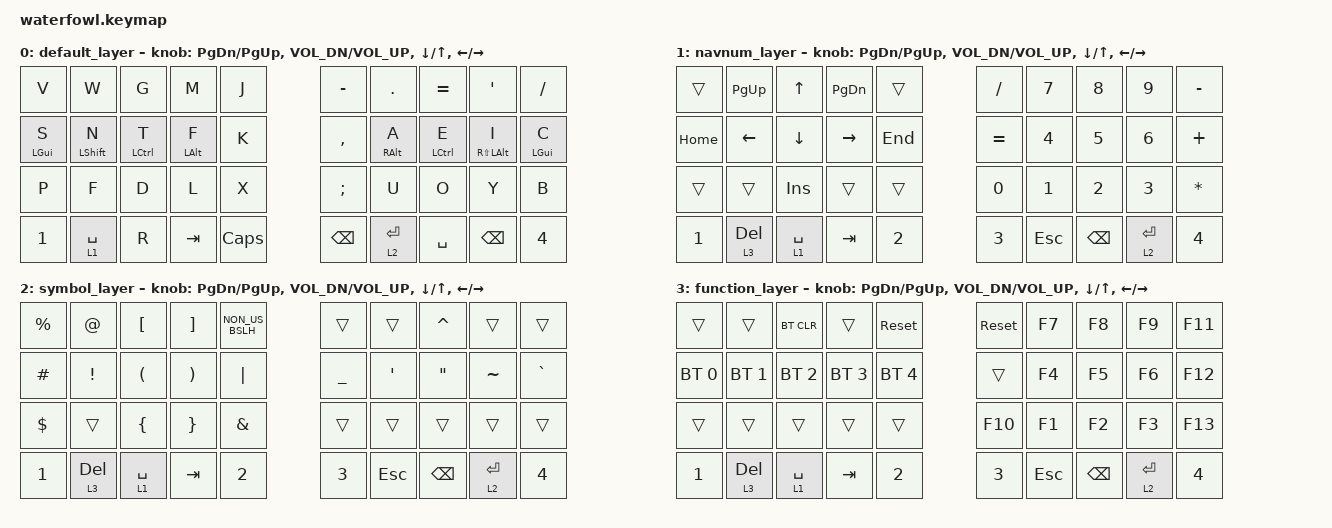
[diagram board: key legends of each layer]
/*
 * Copyright (c) 2022 The ZMK Contributors
 *
 * SPDX-License-Identifier: MIT
 */

#include <behaviors.dtsi>
#include <dt-bindings/zmk/keys.h>
#include <dt-bindings/zmk/bt.h>



/ {

	behaviors {
	rpi: require_prior_idle {
    compatible = "zmk,behavior-hold-tap";
    #binding-cells = <2>;
    flavor = "tap-preferred";
    tapping-term-ms = <200>;
    require-prior-idle-ms = <125>;
    bindings = <&kp>, <&kp>;
	};
	};
    keymap {
        compatible = "zmk,keymap";

        default_layer {
/* QWERTY
 *
 * ,----------------------------------.                      ,----------------------------------.
 * |   Q  |   W  |   E  |   R  |   T  |                      |   Y  |   U  |   I  |   O  |   P  |
 * |------+------+------+------+------|                      |------+------+------+------+------|
 * |   A  |   S  |   D  |   F  |   G  |                      |   H  |   J  |   K  |   L  |   ;  |
 * |------+------+------+------+------|  ,-----.    ,-----.  |------+------+------+------+------|
 * |   Z  |   X  |   C  |   V  |   B  |  |  2  |    |  3  |  |   N  |   M  |   ,  |   .  |   /  |
 * `----------------------------------'  `-----'    `-----'  `----------------------------------'
 *          ,-----.   ,--------------------.            ,--------------------.   ,-----.
 *          |  1  |   | DEL | SPACE | TAB  |            |  ESC  | BS | ENTER |   |  4  |
 *          `-----'   `--------------------'            `--------------------'   `-----'
 */
            bindings = <
&kp V       &kp W         &kp G        &kp M           &kp J       &kp MINUS      &kp PERIOD       &kp EQUAL    &kp SQT         &kp SLASH
&rpi LGUI S  &rpi LSHIFT N  &rpi LCTRL T  &rpi LEFT_ALT F  &kp K       &kp COMMA      &rpi RIGHT_ALT A  &rpi LCTRL E  &rpi RS(LALT) I  &rpi LGUI C
&kp P       &kp F         &kp D        &kp L           &kp X       &kp SEMICOLON  &kp U            &kp O        &kp Y           &kp B
&kp N1              &lt 1 SPACE  &kp R  &kp TAB         &kp CLCK    &kp BACKSPACE  &lt 2 RET        &kp SPACE &kp BSPC            &kp N4
            >;

            sensor-bindings = <
                &inc_dec_kp PAGE_DOWN PAGE_UP
                &inc_dec_kp C_VOL_DN C_VOL_UP
                &inc_dec_kp DOWN UP
                &inc_dec_kp LEFT RIGHT
            >;
        };

        navnum_layer {
/* NAVNUM
 *
 * ,----------------------------------.                      ,----------------------------------.
 * |      | PgUp |  UP  | PgDn |      |                      |   /  |   7  |   8  |   9  |   -  |
 * |------+------+------+------+------|                      |------+------+------+------+------|
 * | Home | Left | Down | Right| End  |                      |   =  |   4  |   5  |   6  |   +  |
 * |------+------+------+------+------|  ,-----.    ,-----.  |------+------+------+------+------|
 * |      |      |  INS |      |      |  |  2  |    |  3  |  |   0  |   1  |   2  |   3  |   *  |
 * `----------------------------------'  `-----'    `-----'  `----------------------------------'
 *          ,-----.   ,--------------------.            ,--------------------.   ,-----.
 *          |  1  |   | DEL | SPACE | MO(3)|            |  ESC  | BS | ENTER |   |  4  |
 *          `-----'   `--------------------'            `--------------------'   `-----'
 */
            bindings = <
    &trans      &kp PG_UP   &kp UP      &kp PG_DN   &trans                  &kp FSLH    &kp N7  &kp N8      &kp N9      &kp MINUS
    &kp HOME    &kp LEFT    &kp DOWN    &kp RIGHT   &kp END                 &kp EQUAL   &kp N4  &kp N5      &kp N6      &kp PLUS
    &trans      &trans      &kp INS     &trans      &trans                  &kp N0      &kp N1  &kp N2      &kp N3      &kp ASTERISK
    &kp N1      &lt 3 DEL   &lt 1 SPACE &kp TAB     &kp N2                  &kp N3      &kp ESC &kp BSPC    &lt 2 RET   &kp N4
            >;

            sensor-bindings = <
                &inc_dec_kp PAGE_DOWN PAGE_UP
                &inc_dec_kp C_VOL_DN C_VOL_UP
                &inc_dec_kp DOWN UP
                &inc_dec_kp LEFT RIGHT
            >;
        };

        symbol_layer {
/* SYM
 *
 * ,----------------------------------.                      ,----------------------------------.
 * |   %  |   @  |   [  |   ]  |   \  |                      |      |      |   ^  |      |      |
 * |------+------+------+------+------|                      |------+------+------+------+------|
 * |   #  |   !  |   (  |   )  |   |  |                      |   _  |   '  |   "  |   ~  |   `  |
 * |------+------+------+------+------|  ,-----.    ,-----.  |------+------+------+------+------|
 * |   $  |      |   {  |   }  |   &  |  |  2  |    |  3  |  |      |      |      |      |      |
 * `----------------------------------'  `-----'    `-----'  `----------------------------------'
 *          ,-----.   ,--------------------.            ,--------------------.   ,-----.
 *          |  1  |   | DEL | SPACE | TAB  |            |  ESC  | BS | ENTER |   |  4  |
 *          `-----'   `--------------------'            `--------------------'   `-----'
 */
            bindings = <
    &kp PRCNT       &kp AT      &kp LBKT    &kp RBKT    &kp NON_US_BSLH         &trans          &trans          &kp CARET           &trans      &trans
    &kp HASH        &kp EXCL    &kp LPAR    &kp RPAR    &kp PIPE                &kp UNDER       &kp APOS        &kp DOUBLE_QUOTES   &kp TILDE   &kp GRAVE
    &kp DLLR        &trans      &kp LBRC    &kp RBRC    &kp AMPS                &trans          &trans          &trans              &trans      &trans
    &kp N1          &lt 3 DEL   &lt 1 SPACE &kp TAB     &kp N2                  &kp N3          &kp ESC         &kp BSPC            &lt 2 RET   &kp N4
            >;

            sensor-bindings = <
                &inc_dec_kp PAGE_DOWN PAGE_UP
                &inc_dec_kp C_VOL_DN C_VOL_UP
                &inc_dec_kp DOWN UP
                &inc_dec_kp LEFT RIGHT
            >;
        };

        function_layer {
/* FUNC
 *
 * ,----------------------------------.                      ,----------------------------------.
 * |      |      | BTCLR|      | Reset|                      | Reset|  F7  |  F8  |  F9  |  F11 |
 * |------+------+------+------+------|                      |------+------+------+------+------|
 * |  BT0 |  BT1 |  BT2 |  BT3 |  BT4 |                      |      |  F4  |  F5  |  F6  |  F12 |
 * |------+------+------+------+------|  ,-----.    ,-----.  |------+------+------+------+------|
 * |      |      |      |      |      |  |  2  |    |  3  |  |  F10 |  F1  |  F2  |  F3  |  F13 |
 * `----------------------------------'  `-----'    `-----'  `----------------------------------'
 *          ,-----.   ,--------------------.            ,--------------------.   ,-----.
 *          |  1  |   | DEL | SPACE | TAB  |            |  ESC  | BS | ENTER |   |  4  |
 *          `-----'   `--------------------'            `--------------------'   `-----'
 */
            bindings = <
    &trans          &trans          &bt BT_CLR      &trans          &sys_reset          &sys_reset  &kp F7  &kp F8      &kp F9      &kp F11
    &bt BT_SEL 0    &bt BT_SEL 1    &bt BT_SEL 2    &bt BT_SEL 3    &bt BT_SEL 4        &trans      &kp F4  &kp F5      &kp F6      &kp F12
    &trans          &trans          &trans          &trans          &trans              &kp F10     &kp F1  &kp F2      &kp F3      &kp F13
    &kp N1          &lt 3 DEL       &lt 1 SPACE     &kp TAB         &kp N2              &kp N3      &kp ESC &kp BSPC    &lt 2 RET   &kp N4
            >;

            sensor-bindings = <
                &inc_dec_kp PAGE_DOWN PAGE_UP
                &inc_dec_kp C_VOL_DN C_VOL_UP
                &inc_dec_kp DOWN UP
                &inc_dec_kp LEFT RIGHT
            >;
        };

    };
};
